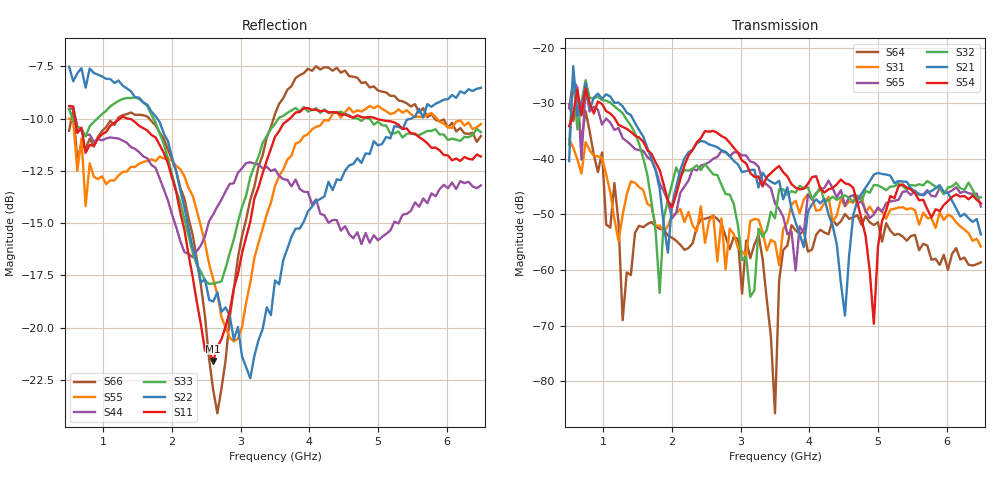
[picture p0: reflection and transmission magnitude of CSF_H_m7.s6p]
!Keysight Technologies,M9804A,MY58100912,A.14.10.03
!Date: Thursday, April 27, 2023 10:28:33
!Correction: S11(C  6-Port  )
!S12(C  6-Port  )
!S13(C  6-Port  )
!S14(C  6-Port  )
!S15(C  6-Port  )
!S16(C  6-Port  )
!S21(C  6-Port  )
!S22(C  6-Port  )
!S23(C  6-Port  )
!S24(C  6-Port  )
!S25(C  6-Port  )
!S26(C  6-Port  )
!S31(C  6-Port  )
!S32(C  6-Port  )
!S33(C  6-Port  )
!S34(C  6-Port  )
!S35(C  6-Port  )
!S36(C  6-Port  )
!S41(C  6-Port  )
!S42(C  6-Port  )
!S43(C  6-Port  )
!S44(C  6-Port  )
!S45(C  6-Port  )
!S46(C  6-Port  )
!S51(C  6-Port  )
!S52(C  6-Port  )
!S53(C  6-Port  )
!S54(C  6-Port  )
!S55(C  6-Port  )
!S56(C  6-Port  )
!S61(C  6-Port  )
!S62(C  6-Port  )
!S63(C  6-Port  )
!S64(C  6-Port  )
!S65(C  6-Port  )
!S66(C  6-Port  )
!S6P File: Measurement: :
# Hz S  RI  R 50
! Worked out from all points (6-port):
!   101 points, 500 MHz to 6.5 GHz, reference 50 ohm
!   strongest paths, dB at 500 MHz, 2 GHz, 3.5 GHz, 5 GHz, 6.5 GHz:
!     S54: -34.1, -48.8, -41.9, -55.8, -48.0
!     S21: -40.4, -48.2, -44.5, -42.5, -53.6
!     S32: -37.5, -44.5, -50.7, -44.8, -46.9
!     S65: -30.9, -50.7, -48.0, -48.7, -48.6
!     S31: -36.5, -50.1, -55.0, -49.0, -55.8
!     S64: -30.2, -54.2, -85.8, -51.4, -58.6
!   lowest |S11| = -21.6 dB at 2.6 GHz (marker M1), VSWR 1.18, Z = 42.6 + j2.04 ohm
!   |S11| at or under -10 dB: 587.5 MHz to 1.241 GHz (653.8 MHz wide, 71.5 % of centre); 1.359 GHz to 3.714 GHz (2.356 GHz wide, 92.9 % of centre); 4.975 GHz to end of sweep
